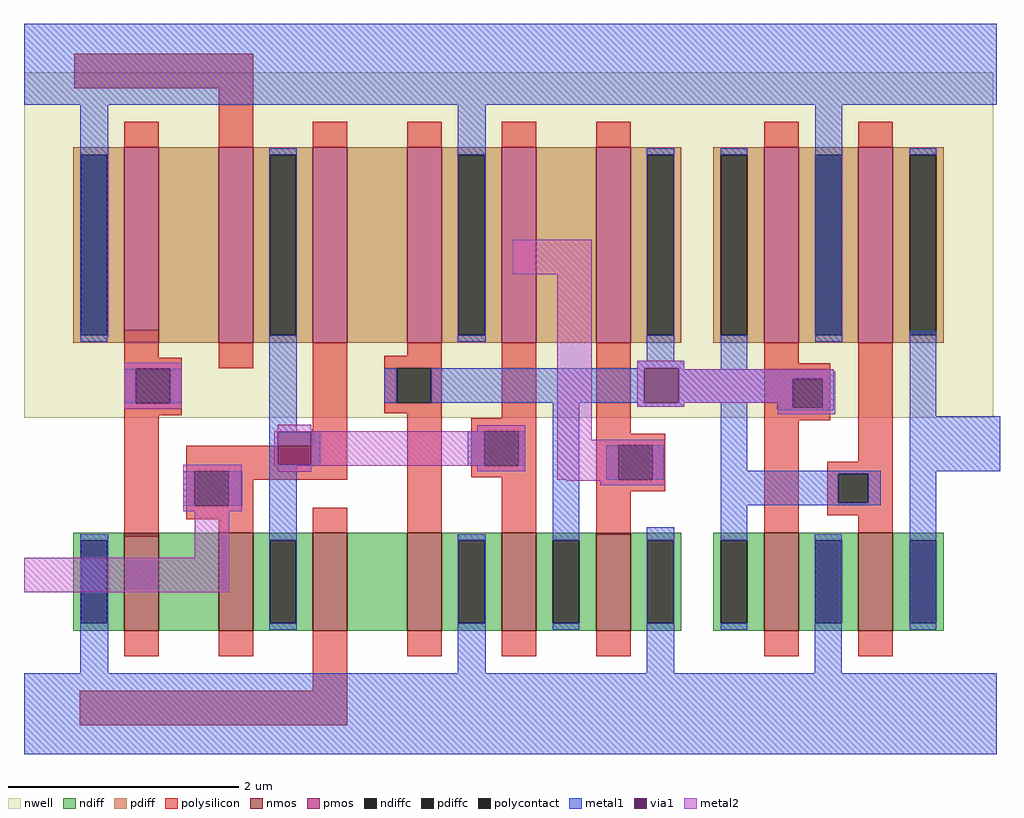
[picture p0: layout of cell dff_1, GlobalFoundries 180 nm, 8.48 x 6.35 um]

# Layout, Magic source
magic
tech gf180mcuD
magscale 1 10
<< nwell >>
rect 662 619 710 630
rect 1296 261 1302 265
rect 1296 249 1309 261
rect 1302 246 1309 249
rect 1311 246 1383 261
rect 1292 188 1643 246
rect 1302 182 1309 188
rect 1311 181 1383 188
<< pdiff >>
rect 662 619 710 630
<< ndiffc >>
rect 663 -195 709 -51
rect 991 -195 1037 -51
rect 1155 -195 1201 -51
rect 1319 -195 1365 -51
<< pdiffc >>
rect 663 305 709 619
rect 991 305 1037 619
rect 1319 305 1365 619
<< polysilicon >>
rect 323 735 634 795
rect 574 676 634 735
rect 410 266 470 315
rect 410 247 510 266
rect 410 187 430 247
rect 490 187 510 247
rect 410 166 510 187
rect 410 -45 470 166
rect 738 113 798 269
rect 862 248 962 270
rect 862 188 884 248
rect 944 188 962 248
rect 862 170 962 188
rect 518 69 798 113
rect 518 9 532 69
rect 592 54 798 69
rect 592 9 634 54
rect 518 -14 634 9
rect 902 6 962 170
rect 1066 161 1126 255
rect 1013 139 1126 161
rect 1013 79 1036 139
rect 1096 79 1126 139
rect 1013 59 1126 79
rect 1066 0 1126 59
rect 1230 134 1290 255
rect 1522 230 1637 257
rect 1522 179 1572 230
rect 1624 179 1637 230
rect 1522 158 1637 179
rect 1230 114 1350 134
rect 1230 54 1269 114
rect 1329 54 1350 114
rect 1230 34 1350 54
rect 1230 -41 1290 34
rect 1522 -2 1582 158
rect 1686 86 1746 262
rect 1632 65 1746 86
rect 1632 14 1651 65
rect 1703 14 1746 65
rect 1632 -6 1746 14
rect 1632 -7 1686 -6
rect 738 -312 798 -252
rect 333 -372 798 -312
<< polycontact >>
rect 430 187 490 247
rect 884 188 944 248
rect 532 9 592 69
rect 1036 79 1096 139
rect 1572 179 1624 230
rect 1269 54 1329 114
rect 1651 14 1703 65
<< metal1 >>
rect 236 706 1926 847
rect 334 303 382 706
rect 662 619 710 630
rect 662 305 663 619
rect 709 305 710 619
rect 410 187 430 247
rect 490 187 510 247
rect 662 139 710 305
rect 990 619 1038 706
rect 990 305 991 619
rect 1037 305 1038 619
rect 990 294 1038 305
rect 1318 619 1366 630
rect 1318 305 1319 619
rect 1365 305 1366 619
rect 1318 261 1366 305
rect 1302 248 1383 261
rect 862 188 884 248
rect 944 188 1314 248
rect 1374 246 1383 248
rect 1447 246 1493 302
rect 1611 294 1658 706
rect 1374 230 1643 246
rect 1374 188 1572 230
rect 662 138 751 139
rect 662 80 677 138
rect 735 80 751 138
rect 662 79 751 80
rect 1007 79 1036 139
rect 1096 79 1107 139
rect 513 9 532 69
rect 592 9 615 69
rect 334 -282 382 -41
rect 662 -51 710 79
rect 662 -195 663 -51
rect 709 -195 710 -51
rect 662 -206 710 -195
rect 990 -51 1038 -40
rect 990 -195 991 -51
rect 1037 -195 1038 -51
rect 990 -282 1038 -195
rect 1155 -51 1201 188
rect 1302 181 1383 188
rect 1248 54 1269 114
rect 1329 54 1348 114
rect 1447 70 1493 188
rect 1545 179 1572 188
rect 1624 179 1643 230
rect 1545 175 1643 179
rect 1775 165 1821 313
rect 1447 65 1725 70
rect 1447 14 1651 65
rect 1703 14 1725 65
rect 1447 10 1725 14
rect 1775 69 1932 165
rect 1155 -206 1201 -195
rect 1318 -51 1366 -28
rect 1447 -45 1493 10
rect 1318 -195 1319 -51
rect 1365 -195 1366 -51
rect 1318 -282 1366 -195
rect 1610 -282 1657 -41
rect 1775 -206 1821 69
rect 236 -423 1926 -282
<< via1 >>
rect 1314 188 1374 248
rect 677 80 735 138
<< metal2 >>
rect 1085 411 1223 471
rect 410 178 510 258
rect 677 142 735 150
rect 675 139 737 142
rect 1024 139 1107 149
rect 671 138 1107 139
rect 671 80 677 138
rect 735 80 1107 138
rect 513 0 614 80
rect 671 79 1107 80
rect 675 77 737 79
rect 677 68 735 77
rect 1024 69 1107 79
rect 1163 124 1223 411
rect 1302 248 1383 261
rect 1302 188 1314 248
rect 1374 246 1383 248
rect 1374 243 1643 246
rect 1374 188 1646 243
rect 1302 182 1383 188
rect 1303 181 1383 182
rect 1546 168 1646 188
rect 1163 54 1349 124
rect 1179 53 1349 54
rect 1237 45 1349 53
rect 533 -81 593 0
rect 236 -141 593 -81
use nfet_03v3_C8ZVHP  nfet_03v3_C8ZVHP_0
transform 1 0 1634 0 1 -123
box -200 -129 200 129
use nfet_03v3_CYXVHP  nfet_03v3_CYXVHP_0
transform 1 0 850 0 1 -123
box -528 -129 528 129
use pfet_03v3_XSR2S3  pfet_03v3_XSR2S3_0
transform 1 0 1634 0 1 462
box -286 -300 286 300
use pfet_03v3_XSV2S3  pfet_03v3_XSV2S3_0
transform 1 0 850 0 1 462
box -614 -300 614 300
<< end >>

# cell nfet_03v3_C8ZVHP: kit device nfet_03v3, w 0.85 l 0.3 m 1 nf 2 diffcov 100 polycov 100 guard 0 glc 0 grc 0 gtc 0 gbc 0 tbcov 100 rlcov 100 topc 0 botc 0 poverlap 0 doverlap 1 lmin 0.28 wmin 0.22 class mosfet full_metal 0 compatible {nfet_03v3 nfet_06v0 nfet_06v0_nvt}

# cell nfet_03v3_CYXVHP: kit device nfet_03v3, w 0.85 l 0.3 m 1 nf 6 diffcov 100 polycov 100 guard 0 glc 0 grc 0 gtc 0 gbc 0 tbcov 100 rlcov 100 topc 0 botc 0 poverlap 0 doverlap 1 lmin 0.28 wmin 0.22 class mosfet full_metal 0 compatible {nfet_03v3 nfet_06v0 nfet_06v0_nvt}

# cell pfet_03v3_XSR2S3: kit device pfet_03v3, w 1.7 l 0.3 m 1 nf 2 diffcov 100 polycov 100 guard 0 glc 0 grc 0 gtc 0 gbc 0 tbcov 100 rlcov 100 topc 0 botc 0 poverlap 0 doverlap 1 lmin 0.28 wmin 0.22 class mosfet full_metal 0 compatible {pfet_03v3 pfet_06v0}

# cell pfet_03v3_XSV2S3: kit device pfet_03v3, w 1.7 l 0.3 m 1 nf 6 diffcov 100 polycov 100 guard 0 glc 0 grc 0 gtc 0 gbc 0 tbcov 100 rlcov 100 topc 0 botc 0 poverlap 0 doverlap 1 lmin 0.28 wmin 0.22 class mosfet full_metal 0 compatible {pfet_03v3 pfet_06v0}
